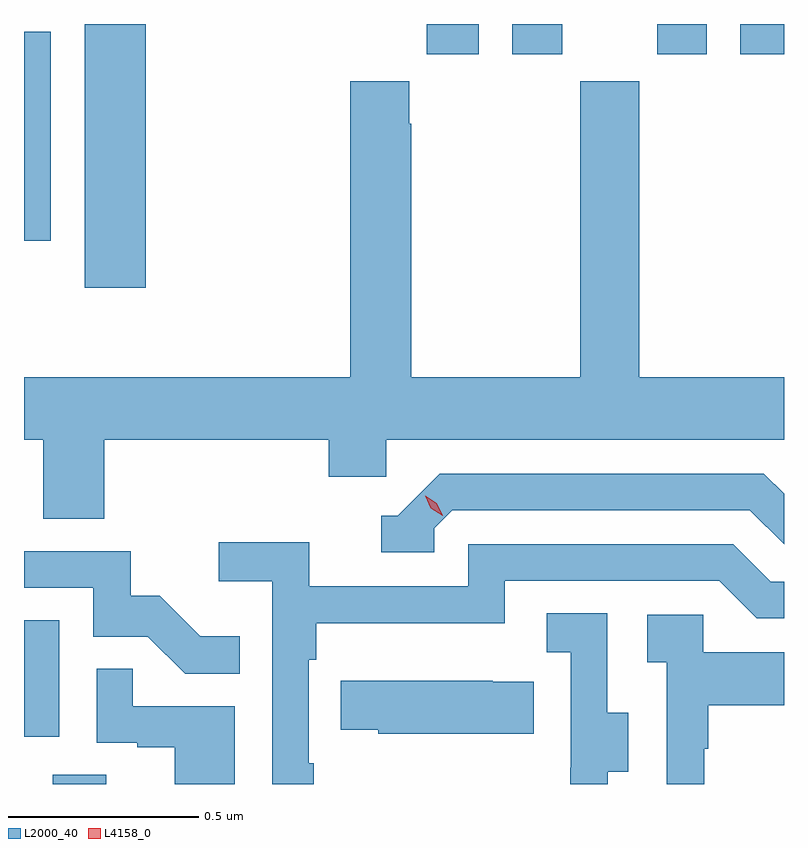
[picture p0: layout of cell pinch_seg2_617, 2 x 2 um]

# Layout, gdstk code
import gdstk
lib = gdstk.Library(unit=1e-6, precision=1e-09)
def R(c, l, rs):  # rectangles x0, y0, x1, y1
    for r in rs: c.add(gdstk.rectangle(r[:2], r[2:], *l))
def P(c, l, *ps):  # polygons
    for p in ps: c.add(gdstk.Polygon(p, *l))
L2000_40 = (2000, 40)
L4158_0 = (4158, 0)

pinch_seg2_617 = lib.new_cell('pinch_seg2_617')
R(pinch_seg2_617, L2000_40, [(1046.141,612.098,1046.281,612.122), (1046.065,612.222,1046.158,612.529), (1046.225,613.404,1046.386,614.098), (1046.065,613.527,1046.136,614.078), (1047.125,614.019,1047.262,614.098), (1047.35,614.019,1047.481,614.098), (1047.731,614.019,1047.862,614.098), (1047.95,614.019,1048.065,614.098)])
P(pinch_seg2_617, L2000_40, [(1046.276,613.004),(1046.867,613.004),(1046.867,612.906),(1047.018,612.906),(1047.018,613.004),(1048.065,613.004),(1048.065,613.168),(1047.684,613.168),(1047.684,613.948),(1047.529,613.948),(1047.529,613.168),(1047.084,613.168),(1047.084,613.835),(1047.079,613.835),(1047.079,613.948),(1046.924,613.948),(1046.924,613.168),(1046.065,613.168),(1046.065,613.004),(1046.116,613.004),(1046.116,612.796),(1046.276,612.796)],
  [(1047.144,612.771),(1047.192,612.819),(1047.975,612.819),(1048.065,612.729),(1048.065,612.862),(1048.012,612.915),(1047.159,612.915),(1047.048,612.804),(1047.005,612.804),(1047.005,612.708),(1047.144,612.708)],
  [(1046.827,612.152),(1046.814,612.152),(1046.814,612.425),(1046.834,612.425),(1046.834,612.521),(1047.33,612.521),(1047.33,612.633),(1047.894,612.633),(1047.993,612.534),(1048.065,612.534),(1048.065,612.63),(1048.03,612.63),(1047.931,612.729),(1047.234,612.729),(1047.234,612.618),(1046.816,612.618),(1046.816,612.734),(1046.577,612.734),(1046.577,612.632),(1046.718,612.632),(1046.718,612.098),(1046.827,612.098)],
  [(1046.633,612.487),(1046.529,612.487),(1046.422,612.594),(1046.346,612.594),(1046.346,612.711),(1046.065,612.711),(1046.065,612.615),(1046.247,612.615),(1046.247,612.486),(1046.391,612.486),(1046.489,612.388),(1046.633,612.388)],
  [(1047.601,612.13),(1047.655,612.13),(1047.655,612.285),(1047.6,612.285),(1047.6,612.548),(1047.441,612.548),(1047.441,612.445),(1047.504,612.445),(1047.504,612.141),(1047.503,612.141),(1047.503,612.098),(1047.601,612.098)],
  [(1047.855,612.191),(1047.865,612.191),(1047.865,612.305),(1048.065,612.305),(1048.065,612.445),(1047.852,612.445),(1047.852,612.543),(1047.705,612.543),(1047.705,612.419),(1047.756,612.419),(1047.756,612.098),(1047.855,612.098)],
  [(1046.62,612.303),(1046.351,612.303),(1046.351,612.401),(1046.256,612.401),(1046.256,612.207),(1046.363,612.207),(1046.363,612.195),(1046.462,612.195),(1046.462,612.098),(1046.62,612.098)],
  [(1047.407,612.367),(1047.299,612.367),(1047.299,612.37),(1046.899,612.37),(1046.899,612.241),(1046.997,612.241),(1046.997,612.23),(1047.407,612.23)])
P(pinch_seg2_617, L4158_0, [(1047.167,612.804),(1047.136,612.824),(1047.121,612.857),(1047.121,612.857),(1047.121,612.857),(1047.151,612.837),(1047.167,612.805),(1047.167,612.804)])

lib.write_gds('pinch_seg2_617.gds')
